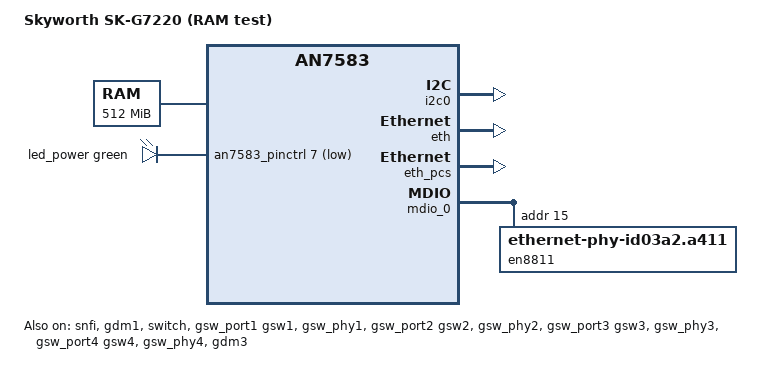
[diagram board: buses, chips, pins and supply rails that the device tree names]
// SPDX-License-Identifier: GPL-2.0-only OR MIT
/*
 * Skyworth SK-G7220 (white), AN7583. RAM-TEST ONLY.
 *
 * Built for one purpose: TFTP-boot an initramfs from the stock U-Boot and
 * look at the hardware without changing flash. So:
 *  - every NAND partition is read-only, and no BMT driver is attached
 *    (stock uses the vendor BMT; blocks it remapped read back unmapped here);
 *  - no LEDs or buttons except the power LED (GPIO 7, active low), which the
 *    stock U-Boot FDT and the cmdline power_gpio=07 both name;
 *  - all four switch PHYs and the EN8811H are enabled under neutral names so
 *    the test shows which jacks are wired where (stock: 4 LAN, eth0.2-5).
 * PCIe (MT7992) is left out: upstream an7583.dtsi has no PCIe nodes yet.
 * Evidence for every value: backup/port/HARDWARE.md.
 */

/dts-v1/;
#include <dt-bindings/leds/common.h>
#include <dt-bindings/gpio/gpio.h>
#include "an7583.dtsi"

/ {
	model = "Skyworth SK-G7220 (RAM test)";
	compatible = "skyworth,sk-g7220", "airoha,an7583";

	aliases {
		serial0 = &uart1;
	};

	chosen {
		bootargs = "console=ttyS0,115200 earlycon";
		stdout-path = "serial0:115200n8";
	};

	memory@80000000 {
		device_type = "memory";
		reg = <0x0 0x80000000 0x0 0x20000000>;	/* 512 MiB, U-Boot dram */
	};

	leds {
		compatible = "gpio-leds";

		led_power: led-0 {
			color = <LED_COLOR_ID_GREEN>;
			function = LED_FUNCTION_POWER;
			gpios = <&an7583_pinctrl 7 GPIO_ACTIVE_LOW>;
			default-state = "on";
		};
	};
};

&an7583_pinctrl {
	gpio-ranges = <&an7583_pinctrl 0 2 53>;

	mdio0_pins: mdio0-pins {
		mux {
			function = "mdio";
			groups = "mdio";
		};
		conf {
			pins = "mdio_0";
			output-high;
		};
	};

	spi_pins: spi-pins {
		mux {
			function = "spi";
			groups = "spi";
		};
	};
};

&snfi {
	pinctrl-names = "default";
	pinctrl-0 = <&spi_pins>;
	status = "okay";
};

&spi_nand {
	/* Foresee F35SQB002G, 256 MiB, 2 KiB pages, 128 KiB blocks. Same ECC
	 * setting as the Nokia AN7583: must match the bootloader. */
	nand-ecc-mode = "none";
	nand-ecc-step-size = <2048>;
	nand-ecc-strength = <0>;

	partitions {
		compatible = "fixed-partitions";
		#address-cells = <1>;
		#size-cells = <1>;

		/* Stock Linux /proc/mtd, not U-Boot's partitions= env (wrong ART). */
		partition@0 {
			label = "bootloader";
			reg = <0x0 0x80000>;
			read-only;
		};
		partition@80000 {
			label = "kernel";
			reg = <0x80000 0x700000>;
			read-only;
		};
		partition@780000 {
			label = "filesystem";
			reg = <0x780000 0x4400000>;
			read-only;
		};
		partition@4b80000 {
			label = "kernel_slave";
			reg = <0x4b80000 0x700000>;
			read-only;
		};
		partition@5280000 {
			label = "filesystem_slave";
			reg = <0x5280000 0x4400000>;
			read-only;
		};
		partition@9680000 {
			label = "rootfs_data";
			reg = <0x9680000 0x800000>;
			read-only;
		};
		partition@9e80000 {
			label = "ubifs";
			reg = <0x9e80000 0x2000000>;
			read-only;
		};
		partition@be80000 {
			/* U-Boot FDT: bootflag-offset = 0x0be80000 */
			label = "others";
			reg = <0xbe80000 0x200000>;
			read-only;
		};
		partition@c080000 {
			/* hole between others and art; contents unknown */
			label = "gap";
			reg = <0xc080000 0x1c00000>;
			read-only;
		};
		partition@dc80000 {
			label = "art";
			reg = <0xdc80000 0x380000>;
			read-only;
		};
		partition@e000000 {
			/* vendor BMT pool area */
			label = "reserved_bmt";
			reg = <0xe000000 0x2000000>;
			read-only;
		};
	};
};

&i2c0 {
	/* EN7571 BOSA lives here (stock: "find 7571 on I2C bus[0]"). Only
	 * enabled so i2cdetect can see it; no driver binds. */
	status = "okay";
};

&eth {
	status = "okay";
};

&eth_pcs {
	status = "okay";
};

&gdm1 {
	status = "okay";
};

&switch {
	status = "okay";
	pinctrl-names = "default";
	pinctrl-0 = <&mdio0_pins>;
};

/* Stock initialised switch PHYs 9-12 (gsw_phy1-4). Names are neutral on
 * purpose until the jacks are mapped. */
&gsw_port1 {
	status = "okay";
	label = "gsw1";
};

&gsw_phy1 {
	status = "okay";
};

&gsw_port2 {
	status = "okay";
	label = "gsw2";
};

&gsw_phy2 {
	status = "okay";
};

&gsw_port3 {
	status = "okay";
	label = "gsw3";
};

&gsw_phy3 {
	status = "okay";
};

&gsw_port4 {
	status = "okay";
	label = "gsw4";
};

&gsw_phy4 {
	status = "okay";
};

&mdio_0 {
	/* Stock: EN8811H answers at 0x0e and 0x0f; 0x0f is "SERDES_ETH".
	 * No reset GPIO: stock never names one, and toggling a guessed pin
	 * is a board change. */
	en8811: ethernet-phy@f {
		compatible = "ethernet-phy-id03a2.a411";
		reg = <0xf>;
	};
};

&gdm3 {
	status = "okay";
	openwrt,netdev-name = "eth25g";
	phy-handle = <&en8811>;
	phy-mode = "2500base-x";
};
